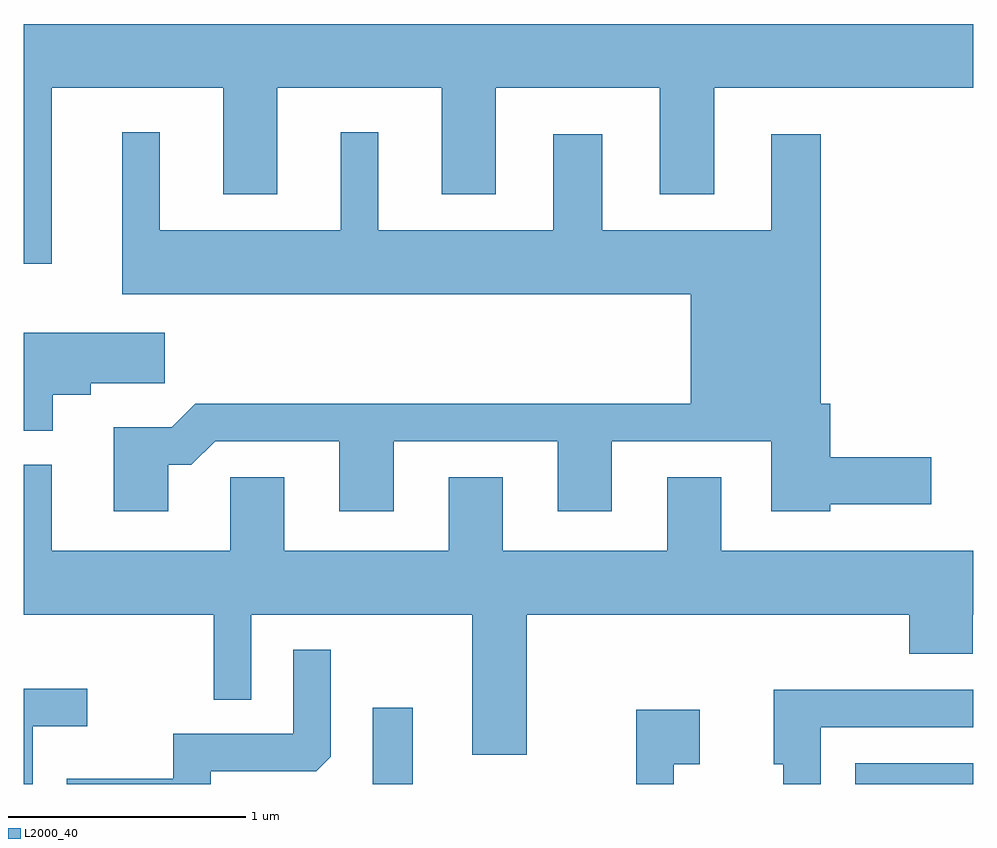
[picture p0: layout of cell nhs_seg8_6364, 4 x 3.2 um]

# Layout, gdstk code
import gdstk
lib = gdstk.Library(unit=1e-6, precision=1e-09)
def R(c, l, rs):  # rectangles x0, y0, x1, y1
    for r in rs: c.add(gdstk.rectangle(r[:2], r[2:], *l))
def P(c, l, *ps):  # polygons
    for p in ps: c.add(gdstk.Polygon(p, *l))
L2000_40 = (2000, 40)

nhs_seg8_6364 = lib.new_cell('nhs_seg8_6364')
R(nhs_seg8_6364, L2000_40, [(377.081,1862.342,377.249,1862.663), (379.113,1862.342,379.611,1862.429)])
P(nhs_seg8_6364, L2000_40, [(375.729,1865.276),(376.451,1865.276),(376.451,1864.826),(376.679,1864.826),(376.679,1865.276),(377.371,1865.276),(377.371,1864.826),(377.599,1864.826),(377.599,1865.276),(378.291,1865.276),(378.291,1864.826),(378.519,1864.826),(378.519,1865.276),(379.611,1865.276),(379.611,1865.544),(375.611,1865.544),(375.611,1864.533),(375.729,1864.533)],
  [(376.219,1863.686),(376.317,1863.686),(376.417,1863.786),(376.941,1863.786),(376.941,1863.491),(377.169,1863.491),(377.169,1863.786),(377.861,1863.786),(377.861,1863.491),(378.089,1863.491),(378.089,1863.786),(378.761,1863.786),(378.761,1863.491),(379.009,1863.491),(379.009,1863.521),(379.434,1863.521),(379.434,1863.719),(379.009,1863.719),(379.009,1863.944),(378.969,1863.944),(378.969,1865.079),(378.761,1865.079),(378.761,1864.674),(378.049,1864.674),(378.049,1865.079),(377.841,1865.079),(377.841,1864.674),(377.104,1864.674),(377.104,1865.088),(376.946,1865.088),(376.946,1864.674),(376.184,1864.674),(376.184,1865.088),(376.026,1865.088),(376.026,1864.406),(378.421,1864.406),(378.421,1863.944),(376.334,1863.944),(376.234,1863.844),(375.991,1863.844),(375.991,1863.491),(376.219,1863.491)],
  [(375.734,1863.981),(375.894,1863.981),(375.894,1864.031),(376.204,1864.031),(376.204,1864.244),(375.611,1864.244),(375.611,1863.831),(375.734,1863.831)],
  [(377.729,1863.056),(379.341,1863.056),(379.341,1862.891),(379.609,1862.891),(379.609,1863.056),(379.611,1863.056),(379.611,1863.324),(378.549,1863.324),(378.549,1863.634),(378.321,1863.634),(378.321,1863.324),(377.629,1863.324),(377.629,1863.634),(377.401,1863.634),(377.401,1863.324),(376.709,1863.324),(376.709,1863.634),(376.481,1863.634),(376.481,1863.324),(375.729,1863.324),(375.729,1863.688),(375.611,1863.688),(375.611,1863.056),(376.411,1863.056),(376.411,1862.698),(376.569,1862.698),(376.569,1863.056),(377.501,1863.056),(377.501,1862.466),(377.729,1862.466)],
  [(376.399,1862.396),(376.844,1862.396),(376.904,1862.457),(376.904,1862.908),(376.746,1862.908),(376.746,1862.554),(376.241,1862.554),(376.241,1862.364),(375.793,1862.364),(375.793,1862.342),(376.399,1862.342)],
  [(375.649,1862.586),(375.878,1862.586),(375.878,1862.744),(375.611,1862.744),(375.611,1862.342),(375.649,1862.342)],
  [(378.969,1862.581),(379.611,1862.581),(379.611,1862.739),(378.771,1862.739),(378.771,1862.426),(378.811,1862.426),(378.811,1862.342),(378.969,1862.342)],
  [(378.349,1862.426),(378.459,1862.426),(378.459,1862.654),(378.191,1862.654),(378.191,1862.342),(378.349,1862.342)])

lib.write_gds('nhs_seg8_6364.gds')
